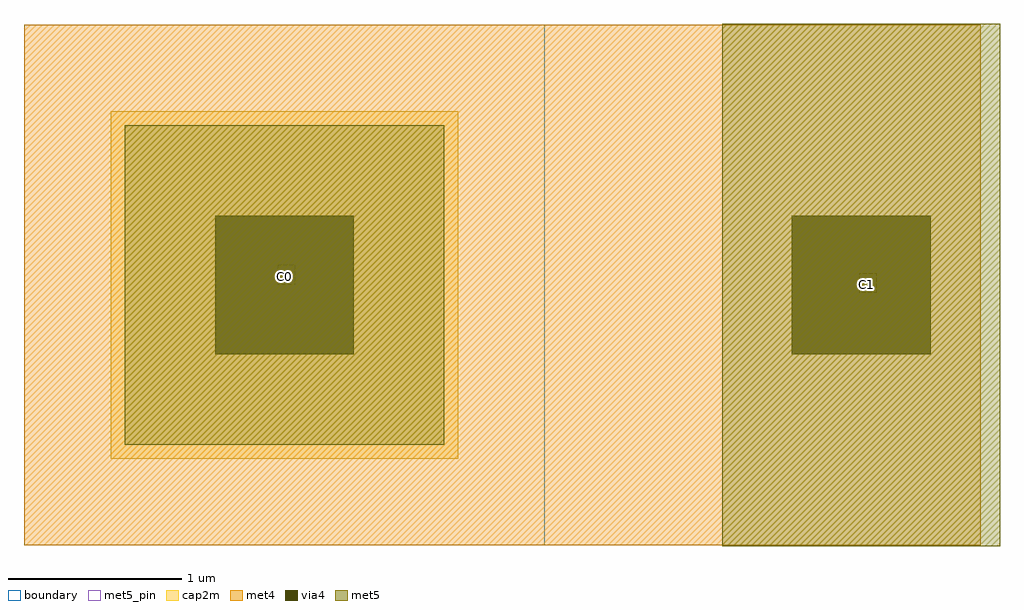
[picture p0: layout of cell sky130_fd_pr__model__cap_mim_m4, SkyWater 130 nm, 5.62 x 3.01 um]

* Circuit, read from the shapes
.subckt sky130_fd_pr__model__cap_mim_m4 C0 C1
XC1 C0 C1 sky130_fd_pr__cap_mim_m3_2 w=2 l=2
.ends

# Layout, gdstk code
import gdstk
lib = gdstk.Library(unit=1e-6, precision=1e-09)
def R(c, l, rs):  # rectangles x0, y0, x1, y1
    for r in rs: c.add(gdstk.rectangle(r[:2], r[2:], *l))
met4 = (71, 20)
via4 = (71, 44)
met5_pin = (72, 16)
met5 = (72, 20)
cap2m = (97, 44)
boundary = (235, 4)

sky130_fd_pr__cap_mim_m3 = lib.new_cell('sky130_fd_pr__cap_mim_m3_2_FJFAMD')
R(sky130_fd_pr__cap_mim_m3, met4, [(-2.755,-1.5,2.755,1.5)])
R(sky130_fd_pr__cap_mim_m3, via4, [(-1.655,-0.4,-0.855,0.4), (1.665,-0.4,2.465,0.4)])
R(sky130_fd_pr__cap_mim_m3, met5, [(1.265,-1.505,2.865,1.505), (-2.175,-0.92,-0.335,0.92)])
R(sky130_fd_pr__cap_mim_m3, cap2m, [(-2.255,-1,-0.255,1)])
R(sky130_fd_pr__cap_mim_m3, boundary, [(-2.755,-1.5,0.245,1.5)])

sky130_fd_pr__model__cap = lib.new_cell('sky130_fd_pr__model__cap_mim_m4')
R(sky130_fd_pr__model__cap, met5_pin, [(2.74,-0.616,2.841,-0.501), (-0.61,-0.569,-0.509,-0.454)])
sky130_fd_pr__model__cap.add(gdstk.Reference(sky130_fd_pr__cap_mim_m3, (0.685,-0.57)))
sky130_fd_pr__model__cap.add(gdstk.Label('C0', (-0.569,-0.523), layer=72, texttype=5))
sky130_fd_pr__model__cap.add(gdstk.Label('C1', (2.781,-0.57), layer=72, texttype=5))

lib.write_gds('sky130_fd_pr__model__cap_mim_m4.gds')
